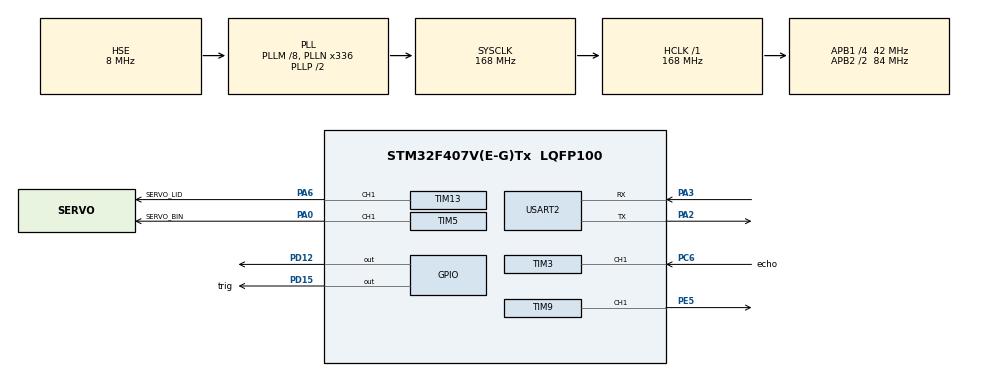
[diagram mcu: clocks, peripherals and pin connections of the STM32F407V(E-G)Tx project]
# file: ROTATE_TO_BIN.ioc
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Dma.Request0=USART2_RX
Dma.USART2_RX.0.Direction=DMA_PERIPH_TO_MEMORY
Dma.USART2_RX.0.FIFOMode=DMA_FIFOMODE_DISABLE
Dma.USART2_RX.0.Instance=DMA1_Stream5
Dma.USART2_RX.0.MemDataAlignment=DMA_MDATAALIGN_BYTE
Dma.USART2_RX.0.MemInc=DMA_MINC_ENABLE
Dma.USART2_RX.0.Mode=DMA_CIRCULAR
Dma.USART2_RX.0.PeriphDataAlignment=DMA_PDATAALIGN_BYTE
Dma.USART2_RX.0.PeriphInc=DMA_PINC_DISABLE
Dma.USART2_RX.0.Priority=DMA_PRIORITY_LOW
Mcu.Family=STM32F4
Mcu.Name=STM32F407V(E-G)Tx
Mcu.Package=LQFP100
NVIC.DMA1_Stream5_IRQn=true\:0\:0\:false\:false\:true\:false\:true\:true
NVIC.PriorityGroup=NVIC_PRIORITYGROUP_0
NVIC.TIM3_IRQn=true\:0\:0\:false\:false\:true\:true\:true\:true
NVIC.TIM5_IRQn=true\:0\:0\:false\:false\:true\:true\:true\:true
PA0-WKUP.GPIO_Label=SERVO_BIN
PA0-WKUP.Signal=S_TIM5_CH1
PA2.Mode=Asynchronous
PA2.Signal=USART2_TX
PA3.Mode=Asynchronous
PA3.Signal=USART2_RX
PA6.GPIO_Label=SERVO_LID
PA6.Signal=S_TIM13_CH1
PC6.GPIO_Label=echo
PC6.Signal=S_TIM3_CH1
PD12.Signal=GPIO_Output
PD15.GPIO_Label=trig
PD15.Signal=GPIO_Output
PE5.Signal=S_TIM9_CH1
PH0-OSC_IN.Mode=HSE-External-Oscillator
PH0-OSC_IN.Signal=RCC_OSC_IN
PH1-OSC_OUT.Mode=HSE-External-Oscillator
PH1-OSC_OUT.Signal=RCC_OSC_OUT
ProjectManager.HeapSize=0x200
ProjectManager.StackSize=0x400
ProjectManager.TargetToolchain=STM32CubeIDE
RCC.48MHZClocksFreq_Value=48000000
RCC.AHBFreq_Value=168000000
RCC.APB1CLKDivider=RCC_HCLK_DIV4
RCC.APB1Freq_Value=42000000
RCC.APB1TimFreq_Value=84000000
RCC.APB2CLKDivider=RCC_HCLK_DIV2
RCC.APB2Freq_Value=84000000
RCC.APB2TimFreq_Value=168000000
RCC.CortexFreq_Value=168000000
RCC.HCLKFreq_Value=168000000
RCC.HSE_VALUE=8000000
RCC.HSI_VALUE=16000000
RCC.LSE_VALUE=32768
RCC.PLLM=8
RCC.PLLN=336
RCC.PLLQ=7
RCC.PLLSourceVirtual=RCC_PLLSOURCE_HSE
RCC.SYSCLKFreq_VALUE=168000000
RCC.SYSCLKSource=RCC_SYSCLKSOURCE_PLLCLK
RCC.VCOOutputFreq_Value=336000000
SH.S_TIM13_CH1.0=TIM13_CH1,PWM Generation1 CH1
SH.S_TIM3_CH1.0=TIM3_CH1,Input_Capture1_from_TI1
SH.S_TIM5_CH1.0=TIM5_CH1,PWM Generation1 CH1
SH.S_TIM9_CH1.0=TIM9_CH1,PWM Generation1 CH1
TIM13.Channel=TIM_CHANNEL_1
TIM13.Period=1000-1
TIM13.Prescaler=1680-1
TIM3.Channel-Input_Capture1_from_TI1=TIM_CHANNEL_1
TIM3.ICFilter_CH1=5
TIM3.ICPolarity_CH1=TIM_INPUTCHANNELPOLARITY_BOTHEDGE
TIM3.Prescaler=84-1
TIM4.Period=0
TIM4.Prescaler=84-1
TIM5.Channel-PWM\ Generation1\ CH1=TIM_CHANNEL_1
TIM5.Period=1000-1
TIM5.Prescaler=1680-1
TIM9.Channel-PWM\ Generation1\ CH1=TIM_CHANNEL_1
USART2.VirtualMode=VM_ASYNC
VP_TIM13_VS_ClockSourceINT.Mode=Enable_Timer
VP_TIM3_VS_ClockSourceINT.Mode=Internal
VP_TIM4_VS_ClockSourceINT.Mode=Internal
VP_TIM5_VS_ClockSourceINT.Mode=Internal
board=STM32F407G-DISC1

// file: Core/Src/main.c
/* USER CODE BEGIN Header */
/**
  ******************************************************************************
  * @file           : main.c
  * @brief          : Main program body
  ******************************************************************************
  * @attention
  *
  * Copyright (c) 2024 STMicroelectronics.
  * All rights reserved.
  *
  * This software is licensed under terms that can be found in the LICENSE file
  * in the root directory of this software component.
  * If no LICENSE file comes with this software, it is provided AS-IS.
  *
  ******************************************************************************
  */
/* USER CODE END Header */
#include "main.h"

/* USER CODE BEGIN Includes */
#include <string.h>
#include <stdio.h>
/* USER CODE END Includes */

/* USER CODE BEGIN PTD */
#define usTIM TIM4
/* USER CODE END PTD */

/* USER CODE BEGIN PM */
#define POSITION_PLASTIC 0
#define POSITION_METAL 80
#define POSITION_TRASH 180

#define POSITION_OPEN 100
#define POSITION_CLOSE 177

#define SERVO_BIN 0
#define SERVO_LID 1

#define FULL_LENGTH_0 10
#define FULL_LENGTH_1 11
#define FULL_LENGTH_2 12

/* USER CODE END PM */

TIM_HandleTypeDef htim3;
TIM_HandleTypeDef htim4;
TIM_HandleTypeDef htim5;
TIM_HandleTypeDef htim9;
TIM_HandleTypeDef htim13;

UART_HandleTypeDef huart2;
DMA_HandleTypeDef hdma_usart2_rx;

void SystemClock_Config(void);
static void MX_GPIO_Init(void);
static void MX_DMA_Init(void);
static void MX_TIM5_Init(void);
static void MX_USART2_UART_Init(void);
static void MX_TIM3_Init(void);
static void MX_TIM4_Init(void);
static void MX_TIM9_Init(void);
static void MX_TIM13_Init(void);
/* USER CODE BEGIN PFP */
void usDelay(uint32_t uSec);
int ROTATE_BIN(uint8_t position);
int ROTATE_MOTOR(uint8_t degree, uint8_t servo);
void UPDATE_FULLNESS(uint8_t class);
float GET_DISTANCE();
/* USER CODE END PFP */
/* USER CODE BEGIN 0 */
const float speedofsound = 0.0343/2;
float distance = 0;
uint8_t icFlag = 0;
uint8_t captureIdx=0;
uint32_t edge1Time=0, edge2Time=0;
uint8_t newDataIn = 0;
uint8_t percent_class[3]= {0, 0, 0};

char uartBuf[100];
char uartBuf_test[100];
char rx_data[2]; //buffer that contains the number (sent by pc) corresponding to the bin
char error_0[50] = "error: wrong input for motor control\r\n";
char flag_0[30] = "you told me to rotate\r\n";
char flag_1[30];
/* USER CODE END 0 */

int main(void)
{

  /* MCU Configuration--------------------------------------------------------*/

  /* Reset of all peripherals, Initializes the Flash interface and the Systick. */
  HAL_Init();

  /* USER CODE BEGIN Init */
  HAL_TIM_PWM_Start(&htim13, TIM_CHANNEL_1 ); //start the timer
  HAL_TIM_PWM_Start(&htim5, TIM_CHANNEL_1);
  /* USER CODE END Init */

  /* Configure the system clock */
  SystemClock_Config();

  /* Initialize all configured peripherals */
  MX_GPIO_Init();
  MX_DMA_Init();
  MX_TIM5_Init();
  MX_USART2_UART_Init();
  MX_TIM3_Init();
  MX_TIM4_Init();
  MX_TIM9_Init();
  MX_TIM13_Init();
  /* USER CODE BEGIN 2 */
  HAL_UART_Receive_DMA(&huart2, (uint8_t *)rx_data, 1); //whenever it receives 1 bytes at time, will interupt and jump to a callback

  /* USER CODE END 2 */

  /* Infinite loop */
  /* USER CODE BEGIN WHILE */
  while (1)
  {
	  // if a new data is sent through UART2
	  if (newDataIn == 1){

		  // treating an item
		  newDataIn = 0;

		  // put the right bin under the lid
		  ROTATE_BIN((uint8_t)rx_data[0] - 48);
		  // wait till it gets to the position
		  HAL_Delay(1000);
		  // update the status of the bins' fullnes
		  UPDATE_FULLNESS(rx_data[0] - 48);
		  sprintf(uartBuf, "{\"plastic\": %d, \"metal\":%d,\"other\":%d}\r\n", percent_class[0], percent_class[1], percent_class[2]);
		  HAL_UART_Transmit(&huart2, (uint8_t *)uartBuf, strlen(uartBuf), 100);
		  // wait till the sensor gets and sends the measurement
		  HAL_Delay(100);
		  // open the lid
		  ROTATE_MOTOR(POSITION_OPEN, SERVO_LID);
		  // wait till it opens
		  HAL_Delay(1500);

		  //close the lid
		  ROTATE_MOTOR(POSITION_CLOSE, SERVO_LID);

	  }
  }

  /* USER CODE END 3 */
}

void SystemClock_Config(void)
{
  RCC_OscInitTypeDef RCC_OscInitStruct = {0};
  RCC_ClkInitTypeDef RCC_ClkInitStruct = {0};

  /** Configure the main internal regulator output voltage
  */
  __HAL_RCC_PWR_CLK_ENABLE();
  __HAL_PWR_VOLTAGESCALING_CONFIG(PWR_REGULATOR_VOLTAGE_SCALE1);

  /** Initializes the RCC Oscillators according to the specified parameters
  * in the RCC_OscInitTypeDef structure.
  */
  RCC_OscInitStruct.OscillatorType = RCC_OSCILLATORTYPE_HSE;
  RCC_OscInitStruct.HSEState = RCC_HSE_ON;
  RCC_OscInitStruct.PLL.PLLState = RCC_PLL_ON;
  RCC_OscInitStruct.PLL.PLLSource = RCC_PLLSOURCE_HSE;
  RCC_OscInitStruct.PLL.PLLM = 8;
  RCC_OscInitStruct.PLL.PLLN = 336;
  RCC_OscInitStruct.PLL.PLLP = RCC_PLLP_DIV2;
  RCC_OscInitStruct.PLL.PLLQ = 7;
  if (HAL_RCC_OscConfig(&RCC_OscInitStruct) != HAL_OK)
  {
    Error_Handler();
  }

  /** Initializes the CPU, AHB and APB buses clocks
  */
  RCC_ClkInitStruct.ClockType = RCC_CLOCKTYPE_HCLK|RCC_CLOCKTYPE_SYSCLK
                              |RCC_CLOCKTYPE_PCLK1|RCC_CLOCKTYPE_PCLK2;
  RCC_ClkInitStruct.SYSCLKSource = RCC_SYSCLKSOURCE_PLLCLK;
  RCC_ClkInitStruct.AHBCLKDivider = RCC_SYSCLK_DIV1;
  RCC_ClkInitStruct.APB1CLKDivider = RCC_HCLK_DIV4;
  RCC_ClkInitStruct.APB2CLKDivider = RCC_HCLK_DIV2;

  if (HAL_RCC_ClockConfig(&RCC_ClkInitStruct, FLASH_LATENCY_5) != HAL_OK)
  {
    Error_Handler();
  }
}

static void MX_TIM3_Init(void)
{

  TIM_ClockConfigTypeDef sClockSourceConfig = {0};
  TIM_MasterConfigTypeDef sMasterConfig = {0};
  TIM_IC_InitTypeDef sConfigIC = {0};

  htim3.Instance = TIM3;
  htim3.Init.Prescaler = 84-1;
  htim3.Init.CounterMode = TIM_COUNTERMODE_UP;
  htim3.Init.Period = 65535;
  htim3.Init.ClockDivision = TIM_CLOCKDIVISION_DIV1;
  htim3.Init.AutoReloadPreload = TIM_AUTORELOAD_PRELOAD_DISABLE;
  if (HAL_TIM_Base_Init(&htim3) != HAL_OK)
  {
    Error_Handler();
  }
  sClockSourceConfig.ClockSource = TIM_CLOCKSOURCE_INTERNAL;
  if (HAL_TIM_ConfigClockSource(&htim3, &sClockSourceConfig) != HAL_OK)
  {
    Error_Handler();
  }
  if (HAL_TIM_IC_Init(&htim3) != HAL_OK)
  {
    Error_Handler();
  }
  sMasterConfig.MasterOutputTrigger = TIM_TRGO_RESET;
  sMasterConfig.MasterSlaveMode = TIM_MASTERSLAVEMODE_DISABLE;
  if (HAL_TIMEx_MasterConfigSynchronization(&htim3, &sMasterConfig) != HAL_OK)
  {
    Error_Handler();
  }
  sConfigIC.ICPolarity = TIM_INPUTCHANNELPOLARITY_BOTHEDGE;
  sConfigIC.ICSelection = TIM_ICSELECTION_DIRECTTI;
  sConfigIC.ICPrescaler = TIM_ICPSC_DIV1;
  sConfigIC.ICFilter = 5;
  if (HAL_TIM_IC_ConfigChannel(&htim3, &sConfigIC, TIM_CHANNEL_1) != HAL_OK)
  {
    Error_Handler();
  }

}

static void MX_TIM4_Init(void)
{

  TIM_ClockConfigTypeDef sClockSourceConfig = {0};
  TIM_MasterConfigTypeDef sMasterConfig = {0};

  htim4.Instance = TIM4;
  htim4.Init.Prescaler = 84-1;
  htim4.Init.CounterMode = TIM_COUNTERMODE_UP;
  htim4.Init.Period = 0;
  htim4.Init.ClockDivision = TIM_CLOCKDIVISION_DIV1;
  htim4.Init.AutoReloadPreload = TIM_AUTORELOAD_PRELOAD_DISABLE;
  if (HAL_TIM_Base_Init(&htim4) != HAL_OK)
  {
    Error_Handler();
  }
  sClockSourceConfig.ClockSource = TIM_CLOCKSOURCE_INTERNAL;
  if (HAL_TIM_ConfigClockSource(&htim4, &sClockSourceConfig) != HAL_OK)
  {
    Error_Handler();
  }
  sMasterConfig.MasterOutputTrigger = TIM_TRGO_RESET;
  sMasterConfig.MasterSlaveMode = TIM_MASTERSLAVEMODE_DISABLE;
  if (HAL_TIMEx_MasterConfigSynchronization(&htim4, &sMasterConfig) != HAL_OK)
  {
    Error_Handler();
  }

}

static void MX_TIM5_Init(void)
{

  TIM_ClockConfigTypeDef sClockSourceConfig = {0};
  TIM_MasterConfigTypeDef sMasterConfig = {0};
  TIM_OC_InitTypeDef sConfigOC = {0};

  htim5.Instance = TIM5;
  htim5.Init.Prescaler = 1680-1;
  htim5.Init.CounterMode = TIM_COUNTERMODE_UP;
  htim5.Init.Period = 1000-1;
  htim5.Init.ClockDivision = TIM_CLOCKDIVISION_DIV1;
  htim5.Init.AutoReloadPreload = TIM_AUTORELOAD_PRELOAD_DISABLE;
  if (HAL_TIM_Base_Init(&htim5) != HAL_OK)
  {
    Error_Handler();
  }
  sClockSourceConfig.ClockSource = TIM_CLOCKSOURCE_INTERNAL;
  if (HAL_TIM_ConfigClockSource(&htim5, &sClockSourceConfig) != HAL_OK)
  {
    Error_Handler();
  }
  if (HAL_TIM_PWM_Init(&htim5) != HAL_OK)
  {
    Error_Handler();
  }
  sMasterConfig.MasterOutputTrigger = TIM_TRGO_RESET;
  sMasterConfig.MasterSlaveMode = TIM_MASTERSLAVEMODE_DISABLE;
  if (HAL_TIMEx_MasterConfigSynchronization(&htim5, &sMasterConfig) != HAL_OK)
  {
    Error_Handler();
  }
  sConfigOC.OCMode = TIM_OCMODE_PWM1;
  sConfigOC.Pulse = 0;
  sConfigOC.OCPolarity = TIM_OCPOLARITY_HIGH;
  sConfigOC.OCFastMode = TIM_OCFAST_DISABLE;
  if (HAL_TIM_PWM_ConfigChannel(&htim5, &sConfigOC, TIM_CHANNEL_1) != HAL_OK)
  {
    Error_Handler();
  }
  HAL_TIM_MspPostInit(&htim5);

}

static void MX_TIM9_Init(void)
{

  TIM_OC_InitTypeDef sConfigOC = {0};

  htim9.Instance = TIM9;
  htim9.Init.Prescaler = 0;
  htim9.Init.CounterMode = TIM_COUNTERMODE_UP;
  htim9.Init.Period = 65535;
  htim9.Init.ClockDivision = TIM_CLOCKDIVISION_DIV1;
  htim9.Init.AutoReloadPreload = TIM_AUTORELOAD_PRELOAD_DISABLE;
  if (HAL_TIM_PWM_Init(&htim9) != HAL_OK)
  {
    Error_Handler();
  }
  sConfigOC.OCMode = TIM_OCMODE_PWM1;
  sConfigOC.Pulse = 0;
  sConfigOC.OCPolarity = TIM_OCPOLARITY_HIGH;
  sConfigOC.OCFastMode = TIM_OCFAST_DISABLE;
  if (HAL_TIM_PWM_ConfigChannel(&htim9, &sConfigOC, TIM_CHANNEL_1) != HAL_OK)
  {
    Error_Handler();
  }
  HAL_TIM_MspPostInit(&htim9);

}

static void MX_TIM13_Init(void)
{

  TIM_OC_InitTypeDef sConfigOC = {0};

  htim13.Instance = TIM13;
  htim13.Init.Prescaler = 1680-1;
  htim13.Init.CounterMode = TIM_COUNTERMODE_UP;
  htim13.Init.Period = 1000-1;
  htim13.Init.ClockDivision = TIM_CLOCKDIVISION_DIV1;
  htim13.Init.AutoReloadPreload = TIM_AUTORELOAD_PRELOAD_DISABLE;
  if (HAL_TIM_Base_Init(&htim13) != HAL_OK)
  {
    Error_Handler();
  }
  if (HAL_TIM_PWM_Init(&htim13) != HAL_OK)
  {
    Error_Handler();
  }
  sConfigOC.OCMode = TIM_OCMODE_PWM1;
  sConfigOC.Pulse = 0;
  sConfigOC.OCPolarity = TIM_OCPOLARITY_HIGH;
  sConfigOC.OCFastMode = TIM_OCFAST_DISABLE;
  if (HAL_TIM_PWM_ConfigChannel(&htim13, &sConfigOC, TIM_CHANNEL_1) != HAL_OK)
  {
    Error_Handler();
  }
  HAL_TIM_MspPostInit(&htim13);

}

static void MX_USART2_UART_Init(void)
{

  huart2.Instance = USART2;
  huart2.Init.BaudRate = 115200;
  huart2.Init.WordLength = UART_WORDLENGTH_8B;
  huart2.Init.StopBits = UART_STOPBITS_1;
  huart2.Init.Parity = UART_PARITY_NONE;
  huart2.Init.Mode = UART_MODE_TX_RX;
  huart2.Init.HwFlowCtl = UART_HWCONTROL_NONE;
  huart2.Init.OverSampling = UART_OVERSAMPLING_16;
  if (HAL_UART_Init(&huart2) != HAL_OK)
  {
    Error_Handler();
  }

}

static void MX_DMA_Init(void)
{

  /* DMA controller clock enable */
  __HAL_RCC_DMA1_CLK_ENABLE();

  /* DMA interrupt init */
  /* DMA1_Stream5_IRQn interrupt configuration */
  HAL_NVIC_SetPriority(DMA1_Stream5_IRQn, 0, 0);
  HAL_NVIC_EnableIRQ(DMA1_Stream5_IRQn);

}

static void MX_GPIO_Init(void)
{
  GPIO_InitTypeDef GPIO_InitStruct = {0};

  /* GPIO Ports Clock Enable */
  __HAL_RCC_GPIOE_CLK_ENABLE();
  __HAL_RCC_GPIOH_CLK_ENABLE();
  __HAL_RCC_GPIOA_CLK_ENABLE();
  __HAL_RCC_GPIOD_CLK_ENABLE();
  __HAL_RCC_GPIOC_CLK_ENABLE();

  /*Configure GPIO pin Output Level */
  HAL_GPIO_WritePin(GPIOD, GPIO_PIN_12|trig_Pin, GPIO_PIN_RESET);

  /*Configure GPIO pins : PD12 trig_Pin */
  GPIO_InitStruct.Pin = GPIO_PIN_12|trig_Pin;
  GPIO_InitStruct.Mode = GPIO_MODE_OUTPUT_PP;
  GPIO_InitStruct.Pull = GPIO_NOPULL;
  GPIO_InitStruct.Speed = GPIO_SPEED_FREQ_LOW;
  HAL_GPIO_Init(GPIOD, &GPIO_InitStruct);

}

/* USER CODE BEGIN 4 */
void HAL_TIM_IC_CaptureCallback(TIM_HandleTypeDef *htim)
{
		if(captureIdx == 0) //Fisrt edge
		{
			edge1Time = HAL_TIM_ReadCapturedValue(htim, TIM_CHANNEL_1); //__HAL_TIM_GetCounter(&htim3);//

			captureIdx = 1;
		}
		else if(captureIdx == 1) //Second edge
		{
			edge2Time = HAL_TIM_ReadCapturedValue(htim, TIM_CHANNEL_1);
			captureIdx = 0;
			icFlag = 1;
		}
}
void usDelay(uint32_t uSec)
{
	if(uSec < 2) uSec = 2;
	usTIM->ARR = uSec - 1; 	/*sets the value in the auto-reload register*/
	usTIM->EGR = 1; 			/*Re-initialises the timer*/
	usTIM->SR &= ~1; 		//Resets the flag
	usTIM->CR1 |= 1; 		//Enables the counter
	while((usTIM->SR&0x0001) != 1);
	usTIM->SR &= ~(0x0001);
}
void HAL_UART_RxCpltCallback(UART_HandleTypeDef *huart)
{
  /* Prevent unused argument(s) compilation warning */
  UNUSED(huart);
  /* NOTE: This function should not be modified, when the callback is needed,
           the HAL_UART_RxCpltCallback could be implemented in the user file
   */
  //debugging message
  //sends what it just received
  //HAL_UART_Transmit(&huart2, (uint8_t *)rx_data, strlen(rx_data), 10);

  newDataIn = 1;

}
void UPDAT_FULLNESS(uint8_t class){
		  distance = GET_DISTANCE();
		  HAL_GPIO_WritePin(trig_GPIO_Port, trig_Pin, GPIO_PIN_SET);
		  usDelay(10);
		  HAL_GPIO_WritePin(trig_GPIO_Port, trig_Pin, GPIO_PIN_RESET);
		  //Start IC timer
		  HAL_TIM_IC_Start_IT(&htim3, TIM_CHANNEL_1);
		  //Wait for IC flag
		  uint32_t startTick = HAL_GetTick();
		  do
		  {
		  	  if(icFlag) break;
		  }while((HAL_GetTick() - startTick) < 500);  //500ms
		  icFlag = 0;
		  HAL_TIM_IC_Stop_IT(&htim3, TIM_CHANNEL_1);

		  //Calculate distance in cm
		  if(edge2Time > edge1Time)
		  {
			  distance = ((edge2Time - edge1Time) + 0.0f)*speedofsound;
		  }
		  else
		  {
			  distance = 0.0f;
		  }
		  sprintf(uartBuf, "Distance (cm) = %.1f\r\n", distance);

		  //HAL_UART_Transmit(&huart2, (uint8_t *)uartBuf, strlen(uartBuf), 100);
		  HAL_Delay(1000);
}
int ROTATE_BIN(uint8_t position)
{

  //HAL_UART_Transmit(&huart2, (uint8_t *) flag_0, strlen(flag_0), 10);
  switch (position)
  {
  case 0:
    ROTATE_MOTOR(POSITION_PLASTIC, SERVO_BIN);
    break;
  case 1:
    ROTATE_MOTOR(POSITION_METAL, SERVO_BIN);
    break;
  case 2:
    ROTATE_MOTOR(POSITION_TRASH, SERVO_BIN);
    break;
  default:
	  //HAL_UART_Transmit(&huart2, (uint8_t *) error_0, strlen(error_0), 10);
    break;
  }
  return 0;
}
int ROTATE_MOTOR(uint8_t degree, uint8_t servo)
{
  uint8_t duty_cycle = degree * 0.64444 + 14;
  //sprintf(flag_1,"duty_cycle = %u \r\n",duty_cycle);
  //HAL_UART_Transmit(&huart2, (uint8_t *) flag_1, strlen(flag_1), 10);

  switch(servo)
  {
    case 0:
    	HAL_TIM_PWM_Start(&htim5, TIM_CHANNEL_1);
    	__HAL_TIM_SET_COMPARE(&htim5, TIM_CHANNEL_1, duty_cycle);
      break;
    case 1:
    	HAL_TIM_PWM_Start(&htim13, TIM_CHANNEL_1);
    	__HAL_TIM_SET_COMPARE(&htim13, TIM_CHANNEL_1, duty_cycle);
      break;
    default:
  	  //HAL_UART_Transmit(&huart2, (uint8_t *) error_0, strlen(error_0), 10);
      break;
  }

  return 0;
}

void UPDATE_FULLNESS(uint8_t class)
{
	// initialise internal variables
	uint8_t fullness = 0;
	float distance = 0;

	//  measure distance
	distance = GET_DISTANCE();

	// convert distance to percentage
	switch (class) {
		case 0:
			fullness = (FULL_LENGTH_0 - distance) / FULL_LENGTH_0 * 100;
			break;
		case 1:
			fullness = (FULL_LENGTH_1 - distance) / FULL_LENGTH_1 * 100;
			break;
		case 2:
			fullness = (FULL_LENGTH_0 - distance) / FULL_LENGTH_2 * 100;
			break;
		default:
			if (fullness > 100)
			{
				fullness = 100;
			}else
				if(fullness < 0)
				{
					fullness  = 0;
				}
			break;
	}

	//update fullness array
	percent_class[class] = fullness;

}
float GET_DISTANCE()
{
	float distance = 0;
	// set trig pin to HIGH for 10 us
	HAL_GPIO_WritePin(trig_GPIO_Port, trig_Pin, GPIO_PIN_SET);
	usDelay(10);

	// reset it to 0
	HAL_GPIO_WritePin(trig_GPIO_Port, trig_Pin, GPIO_PIN_RESET);

	//Start IC timer
	HAL_TIM_IC_Start_IT(&htim3, TIM_CHANNEL_1);

	//Wait for IC flag
	uint32_t startTick = HAL_GetTick();
	do
	{
		if(icFlag) break;
	}while((HAL_GetTick() - startTick) < 500);  //500ms

	icFlag = 0;
	HAL_TIM_IC_Stop_IT(&htim3, TIM_CHANNEL_1);

	//Calculate distance in cm
	if(edge2Time > edge1Time)
	{
		distance = ((edge2Time - edge1Time) + 0.0f)*speedofsound;
	}
	else
	{
		distance = 0.0f;
	}

	sprintf(uartBuf, "Distance (cm) = %.1f\r\n", distance);

	//HAL_UART_Transmit(&huart2, (uint8_t *)uartBuf, strlen(uartBuf), 100);
	//HAL_Delay(1000);

	return distance;

}
/* USER CODE END 4 */

void Error_Handler(void)
{
  __disable_irq();
  while (1)
  {
  }
}
